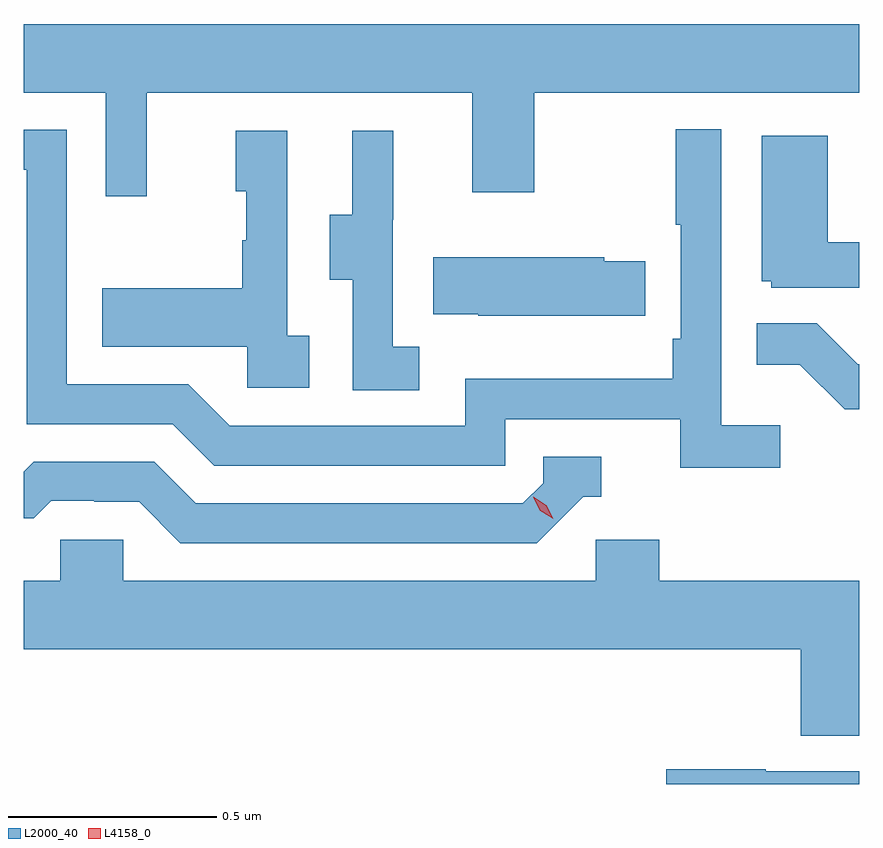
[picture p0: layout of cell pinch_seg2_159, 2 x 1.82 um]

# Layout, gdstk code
import gdstk
lib = gdstk.Library(unit=1e-6, precision=1e-09)
def P(c, l, *ps):  # polygons
    for p in ps: c.add(gdstk.Polygon(p, *l))
L2000_40 = (2000, 40)
L4158_0 = (4158, 0)

pinch_seg2_159 = lib.new_cell('pinch_seg2_159')
P(pinch_seg2_159, L2000_40, [(1088.945,640.976),(1089.725,640.976),(1089.725,640.737),(1089.873,640.737),(1089.873,640.976),(1090.651,640.976),(1090.651,641.14),(1088.651,641.14),(1088.651,640.976),(1088.847,640.976),(1088.847,640.728),(1088.945,640.728)],
  [(1090.462,640.18),(1090.32,640.18),(1090.32,640.888),(1090.212,640.888),(1090.212,640.66),(1090.224,640.66),(1090.224,640.387),(1090.204,640.387),(1090.204,640.291),(1089.708,640.291),(1089.708,640.179),(1089.144,640.179),(1089.045,640.278),(1088.754,640.278),(1088.754,640.887),(1088.651,640.887),(1088.651,640.791),(1088.658,640.791),(1088.658,640.182),(1089.008,640.182),(1089.107,640.083),(1089.804,640.083),(1089.804,640.194),(1090.223,640.194),(1090.223,640.078),(1090.462,640.078)],
  [(1089.598,640.367),(1089.534,640.367),(1089.534,640.671),(1089.536,640.671),(1089.536,640.885),(1089.437,640.885),(1089.437,640.683),(1089.383,640.683),(1089.383,640.528),(1089.438,640.528),(1089.438,640.264),(1089.598,640.264)],
  [(1089.334,640.394),(1089.282,640.394),(1089.282,640.885),(1089.158,640.885),(1089.158,640.74),(1089.184,640.74),(1089.184,640.622),(1089.174,640.622),(1089.174,640.507),(1088.839,640.507),(1088.839,640.367),(1089.186,640.367),(1089.186,640.269),(1089.334,640.269)],
  [(1090.651,640.618),(1090.576,640.618),(1090.576,640.873),(1090.418,640.873),(1090.418,640.524),(1090.44,640.524),(1090.44,640.509),(1090.651,640.509)],
  [(1090.139,640.572),(1090.041,640.572),(1090.041,640.582),(1089.631,640.582),(1089.631,640.445),(1089.739,640.445),(1089.739,640.442),(1090.139,640.442)],
  [(1090.651,640.326),(1090.647,640.326),(1090.549,640.424),(1090.405,640.424),(1090.405,640.325),(1090.509,640.325),(1090.616,640.218),(1090.651,640.218)],
  [(1089.99,640.008),(1090.033,640.008),(1090.033,640.104),(1089.894,640.104),(1089.894,640.041),(1089.846,639.993),(1089.063,639.993),(1088.964,640.092),(1088.675,640.092),(1088.651,640.068),(1088.651,639.957),(1088.675,639.957),(1088.717,639.999),(1088.82,639.999),(1088.82,639.996),(1088.927,639.996),(1089.026,639.897),(1089.879,639.897)],
  [(1090.651,639.808),(1090.172,639.808),(1090.172,639.906),(1090.02,639.906),(1090.02,639.808),(1088.889,639.808),(1088.889,639.906),(1088.739,639.906),(1088.739,639.808),(1088.651,639.808),(1088.651,639.644),(1090.511,639.644),(1090.511,639.436),(1090.651,639.436)],
  [(1090.651,639.351),(1090.427,639.351),(1090.427,639.356),(1090.189,639.356),(1090.189,639.321),(1090.651,639.321)])
P(pinch_seg2_159, L4158_0, [(1089.918,639.956),(1089.887,639.975),(1089.87,640.007),(1089.87,640.008),(1089.871,640.008),(1089.902,639.988),(1089.918,639.956),(1089.918,639.956)])

lib.write_gds('pinch_seg2_159.gds')
